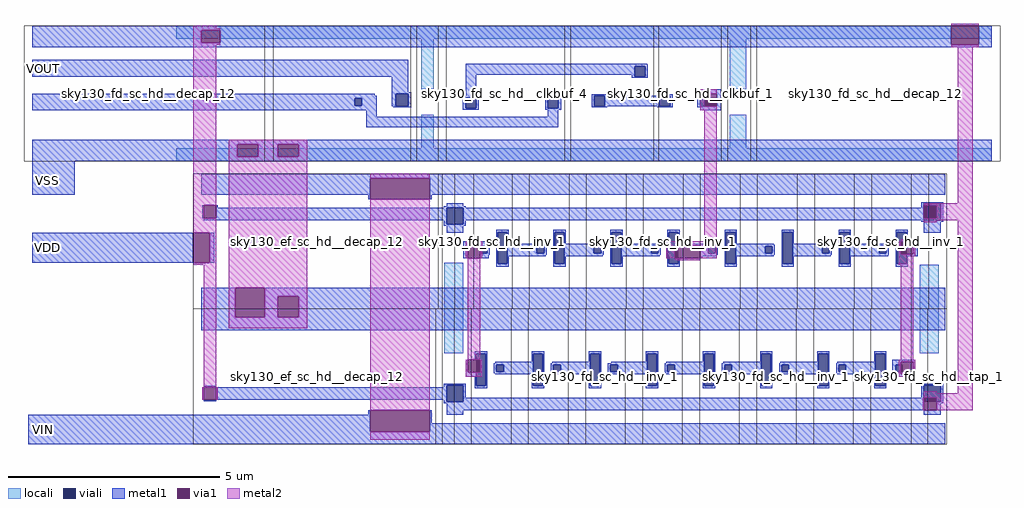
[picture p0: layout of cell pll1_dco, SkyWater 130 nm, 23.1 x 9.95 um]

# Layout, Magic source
magic
tech sky130A
magscale 1 2
<< locali >>
rect -1420 1180 2440 1240
rect -260 940 -200 1180
rect 1200 940 1280 1180
rect -260 660 -200 820
rect 1200 660 1280 820
rect -1420 600 2440 660
rect -150 -310 -60 120
rect 2100 -310 2190 110
<< viali >>
rect 750 1000 800 1050
rect -575 863 -541 897
rect -380 860 -320 920
rect -50 850 0 900
rect 340 850 390 900
rect 560 860 610 910
rect 870 860 920 910
rect 1060 860 1140 900
rect -140 300 -60 380
rect 2120 320 2200 400
rect 18 163 52 197
rect 102 113 148 263
rect 288 163 322 197
rect 372 113 418 263
rect 558 163 592 197
rect 642 113 688 263
rect 828 163 862 197
rect 912 113 958 263
rect 1098 163 1132 197
rect 1182 113 1228 263
rect 1368 163 1402 197
rect 1452 113 1498 263
rect 1638 163 1672 197
rect 1722 113 1768 263
rect 1908 163 1942 197
rect 1992 113 2038 263
rect -140 -540 -60 -460
rect 0 -463 46 -313
rect 96 -397 130 -363
rect 270 -463 316 -313
rect 366 -397 400 -363
rect 540 -463 586 -313
rect 636 -397 670 -363
rect 810 -463 856 -313
rect 906 -397 940 -363
rect 1080 -463 1126 -313
rect 1176 -397 1210 -363
rect 1350 -463 1396 -313
rect 1446 -397 1480 -363
rect 1620 -463 1666 -313
rect 1716 -397 1750 -363
rect 1890 -463 1936 -313
rect 1986 -397 2020 -363
rect 2120 -540 2200 -460
<< metal1 >>
rect -2100 1220 2250 1240
rect -2100 1160 -1300 1220
rect -1210 1160 2250 1220
rect -2100 1150 2250 1160
rect 2380 1150 2440 1240
rect -2100 1140 2440 1150
rect -2100 1000 -320 1080
rect -400 926 -320 1000
rect -50 1056 810 1060
rect -50 1050 812 1056
rect -50 1010 750 1050
rect -400 920 -308 926
rect -2100 910 -480 920
rect -2100 897 -470 910
rect -2100 863 -575 897
rect -541 863 -470 897
rect -2100 840 -470 863
rect -400 860 -380 920
rect -320 860 -308 920
rect -50 906 0 1010
rect 738 1000 750 1010
rect 800 1000 812 1050
rect 738 994 812 1000
rect 1060 920 1160 940
rect 548 910 622 916
rect 858 910 932 916
rect 340 906 390 910
rect -392 854 -308 860
rect -62 900 12 906
rect -62 850 -50 900
rect 0 850 12 900
rect -62 844 12 850
rect 328 900 402 906
rect 328 850 340 900
rect 390 850 402 900
rect 548 860 560 910
rect 610 860 870 910
rect 920 860 932 910
rect 1060 906 1080 920
rect 548 854 622 860
rect 858 854 932 860
rect 1048 900 1080 906
rect 1048 860 1060 900
rect 1140 860 1160 920
rect 1048 854 1160 860
rect 328 844 402 850
rect -520 810 -470 840
rect 340 810 390 844
rect 1060 840 1160 854
rect -520 760 390 810
rect -2100 680 2440 700
rect -2100 620 -1130 680
rect -1030 620 -940 680
rect -840 620 2440 680
rect -2100 600 2440 620
rect -2100 440 -1900 600
rect -1300 520 2220 540
rect -1300 440 -500 520
rect -510 420 -500 440
rect -220 440 2220 520
rect -220 420 -210 440
rect 2108 400 2212 406
rect -1296 330 -1290 390
rect -1230 380 -1224 390
rect -140 386 -60 400
rect -152 380 -48 386
rect 2108 380 2120 400
rect -1230 330 -140 380
rect -1290 320 -140 330
rect -152 300 -140 320
rect -60 320 2120 380
rect 2200 320 2212 400
rect -60 300 -48 320
rect 2108 314 2212 320
rect -152 294 -48 300
rect -140 260 -60 294
rect 96 263 154 275
rect -2100 120 -1340 260
rect -1260 120 -1240 260
rect -60 203 60 220
rect -60 200 64 203
rect -60 140 -40 200
rect 20 197 64 200
rect 52 163 64 197
rect 20 157 64 163
rect 20 140 60 157
rect 96 113 102 263
rect 148 210 154 263
rect 366 263 424 275
rect 148 203 330 210
rect 148 197 334 203
rect 148 163 288 197
rect 322 163 334 197
rect 148 157 334 163
rect 148 150 330 157
rect 148 113 154 150
rect 96 101 154 113
rect 366 113 372 263
rect 418 210 424 263
rect 636 263 694 275
rect 418 203 600 210
rect 418 197 604 203
rect 418 163 558 197
rect 592 163 604 197
rect 418 157 604 163
rect 418 150 600 157
rect 418 113 424 150
rect 366 101 424 113
rect 636 113 642 263
rect 688 210 694 263
rect 906 263 964 275
rect 688 203 870 210
rect 688 197 874 203
rect 688 163 828 197
rect 862 163 874 197
rect 688 157 874 163
rect 688 150 870 157
rect 688 113 694 150
rect 636 101 694 113
rect 906 113 912 263
rect 958 210 964 263
rect 1176 263 1234 275
rect 958 203 1140 210
rect 958 200 1144 203
rect 1060 197 1144 200
rect 1060 163 1098 197
rect 1132 163 1144 197
rect 1060 157 1144 163
rect 1060 150 1140 157
rect 1060 140 1070 150
rect 958 113 964 140
rect 906 101 964 113
rect 1176 113 1182 263
rect 1228 210 1234 263
rect 1446 263 1504 275
rect 1228 203 1410 210
rect 1228 197 1414 203
rect 1228 163 1368 197
rect 1402 163 1414 197
rect 1228 157 1414 163
rect 1228 150 1410 157
rect 1228 113 1234 150
rect 1176 101 1234 113
rect 1446 113 1452 263
rect 1498 210 1504 263
rect 1716 263 1774 275
rect 1498 203 1680 210
rect 1498 197 1684 203
rect 1498 163 1638 197
rect 1672 163 1684 197
rect 1498 157 1684 163
rect 1498 150 1680 157
rect 1498 113 1504 150
rect 1446 101 1504 113
rect 1716 113 1722 263
rect 1768 210 1774 263
rect 1986 263 2044 275
rect 1768 203 1950 210
rect 1768 197 1954 203
rect 1768 163 1908 197
rect 1942 163 1954 197
rect 1768 157 1954 163
rect 1768 150 1950 157
rect 1768 113 1774 150
rect 1716 101 1774 113
rect 1986 113 1992 263
rect 2038 230 2044 263
rect 2120 260 2200 314
rect 2038 220 2090 230
rect 2070 160 2090 220
rect 2038 150 2090 160
rect 2038 113 2044 150
rect 1986 101 2044 113
rect -1300 -140 -1140 0
rect -1000 -40 2220 0
rect -1000 -140 -940 -40
rect -840 -140 2220 -40
rect -1300 -200 2220 -140
rect -6 -313 52 -301
rect -6 -340 0 -313
rect -50 -400 -40 -340
rect -50 -420 0 -400
rect -152 -460 -48 -454
rect -1290 -470 -1230 -464
rect -152 -470 -140 -460
rect -1230 -530 -140 -470
rect -1290 -536 -1230 -530
rect -152 -540 -140 -530
rect -60 -520 -48 -460
rect -6 -463 0 -420
rect 46 -463 52 -313
rect 264 -313 322 -301
rect 264 -350 270 -313
rect 90 -357 270 -350
rect 84 -363 270 -357
rect 84 -397 96 -363
rect 130 -397 270 -363
rect 84 -403 270 -397
rect 90 -410 270 -403
rect -6 -475 52 -463
rect 264 -463 270 -410
rect 316 -463 322 -313
rect 534 -313 592 -301
rect 534 -350 540 -313
rect 360 -357 540 -350
rect 354 -363 540 -357
rect 354 -397 366 -363
rect 400 -397 540 -363
rect 354 -403 540 -397
rect 360 -410 540 -403
rect 264 -475 322 -463
rect 534 -463 540 -410
rect 586 -463 592 -313
rect 804 -313 862 -301
rect 804 -350 810 -313
rect 640 -357 810 -350
rect 624 -363 810 -357
rect 624 -397 636 -363
rect 670 -397 810 -363
rect 624 -403 810 -397
rect 640 -410 810 -403
rect 534 -475 592 -463
rect 804 -463 810 -410
rect 856 -463 862 -313
rect 1074 -313 1132 -301
rect 1074 -350 1080 -313
rect 900 -357 1080 -350
rect 894 -363 1080 -357
rect 894 -397 906 -363
rect 940 -397 1080 -363
rect 894 -403 1080 -397
rect 900 -410 1080 -403
rect 804 -475 862 -463
rect 1074 -463 1080 -410
rect 1126 -463 1132 -313
rect 1344 -313 1402 -301
rect 1344 -350 1350 -313
rect 1170 -357 1350 -350
rect 1164 -363 1350 -357
rect 1164 -397 1176 -363
rect 1210 -397 1350 -363
rect 1164 -403 1350 -397
rect 1170 -410 1350 -403
rect 1074 -475 1132 -463
rect 1344 -463 1350 -410
rect 1396 -463 1402 -313
rect 1614 -313 1672 -301
rect 1614 -350 1620 -313
rect 1440 -357 1620 -350
rect 1434 -363 1620 -357
rect 1434 -397 1446 -363
rect 1480 -397 1620 -363
rect 1434 -403 1620 -397
rect 1440 -410 1620 -403
rect 1344 -475 1402 -463
rect 1614 -463 1620 -410
rect 1666 -463 1672 -313
rect 1884 -313 1942 -301
rect 1884 -350 1890 -313
rect 1710 -357 1890 -350
rect 1704 -363 1890 -357
rect 1704 -397 1716 -363
rect 1750 -397 1890 -363
rect 1704 -403 1890 -397
rect 1710 -410 1890 -403
rect 1614 -475 1672 -463
rect 1884 -463 1890 -410
rect 1936 -463 1942 -313
rect 1970 -350 2080 -340
rect 1970 -363 2010 -350
rect 1970 -397 1986 -363
rect 1970 -410 2010 -397
rect 2070 -410 2080 -350
rect 1970 -420 2080 -410
rect 1884 -475 1942 -463
rect 2108 -460 2212 -454
rect 2108 -520 2120 -460
rect -60 -540 2120 -520
rect 2200 -540 2212 -460
rect -152 -546 2120 -540
rect -140 -580 2120 -546
rect 2180 -546 2212 -540
rect 2180 -580 2200 -546
rect -510 -600 -500 -580
rect -2120 -680 -500 -600
rect -220 -640 -210 -580
rect -140 -600 -60 -580
rect 2120 -600 2200 -580
rect -220 -680 2220 -640
rect -2120 -740 2220 -680
<< via1 >>
rect -1300 1160 -1210 1220
rect 2250 1150 2380 1240
rect 1080 900 1140 920
rect 1080 860 1140 900
rect -1130 620 -1030 680
rect -940 620 -840 680
rect -500 420 -220 520
rect -1290 330 -1230 390
rect 2120 330 2180 390
rect -1340 120 -1260 260
rect -40 197 20 200
rect -40 163 18 197
rect 18 163 20 197
rect -40 140 20 163
rect 940 140 958 200
rect 958 140 1060 200
rect 2010 160 2038 220
rect 2038 160 2070 220
rect -1140 -140 -1000 0
rect -940 -140 -840 -40
rect -40 -400 0 -340
rect 0 -400 20 -340
rect -1290 -530 -1230 -470
rect 2010 -363 2070 -350
rect 2010 -397 2020 -363
rect 2020 -397 2070 -363
rect 2010 -410 2070 -397
rect 2120 -540 2180 -520
rect 2120 -580 2180 -540
rect -500 -680 -220 -580
<< metal2 >>
rect 2250 1240 2380 1250
rect -1340 1230 -1230 1240
rect -1340 1220 -1210 1230
rect -1340 1160 -1300 1220
rect -1340 1150 -1210 1160
rect -1340 390 -1230 1150
rect 2250 1140 2380 1150
rect 1060 920 1140 940
rect 1060 860 1080 920
rect 1060 840 1140 860
rect -1340 330 -1290 390
rect -1340 260 -1230 330
rect -1260 120 -1230 260
rect -1340 110 -1230 120
rect -1290 -470 -1230 110
rect -1170 680 -800 700
rect -1170 620 -1130 680
rect -1030 620 -940 680
rect -840 620 -800 680
rect -1170 0 -800 620
rect -1170 -140 -1140 0
rect -1000 -40 -800 0
rect -1000 -140 -940 -40
rect -840 -140 -800 -40
rect -1170 -190 -800 -140
rect -500 520 -220 540
rect -1296 -530 -1290 -470
rect -1230 -530 -1224 -470
rect -500 -580 -220 420
rect 1080 220 1140 840
rect 2280 400 2350 1140
rect 2120 390 2350 400
rect 2180 330 2350 390
rect 2120 320 2350 330
rect 2120 310 2180 320
rect 2010 220 2070 230
rect -50 200 30 220
rect -50 140 -40 200
rect 20 140 30 200
rect 900 200 1140 220
rect 900 140 940 200
rect 1060 140 1140 200
rect 2000 160 2010 220
rect 2070 160 2080 220
rect 2000 150 2080 160
rect -40 -340 20 140
rect 940 130 1060 140
rect 2000 110 2070 150
rect 2010 -340 2070 110
rect -50 -400 -40 -340
rect 20 -400 30 -340
rect -50 -420 30 -400
rect 2000 -350 2080 -340
rect 2000 -410 2010 -350
rect 2070 -410 2080 -350
rect 2000 -420 2080 -410
rect 2120 -500 2180 -490
rect 2280 -500 2350 320
rect 2120 -520 2350 -500
rect 2114 -580 2120 -520
rect 2180 -580 2350 -520
rect -500 -720 -220 -680
use sky130_ef_sc_hd__decap_12  sky130_ef_sc_hd__decap_12_0 $PDKPATH/libs.ref/sky130_fd_sc_hd/mag
transform -1 0 -198 0 -1 -148
box -38 -48 1142 592
use sky130_ef_sc_hd__decap_12  sky130_ef_sc_hd__decap_12_1
transform 1 0 -1302 0 1 -52
box -38 -48 1142 592
use sky130_fd_sc_hd__clkbuf_1  sky130_fd_sc_hd__clkbuf_1_0 $PDKPATH/libs.ref/sky130_fd_sc_hd/mag
transform 1 0 878 0 1 648
box -38 -48 314 592
use sky130_fd_sc_hd__clkbuf_2  sky130_fd_sc_hd__clkbuf_2_0 $PDKPATH/libs.ref/sky130_fd_sc_hd/mag
transform 1 0 458 0 1 648
box -38 -48 406 592
use sky130_fd_sc_hd__clkbuf_4  sky130_fd_sc_hd__clkbuf_4_0 $PDKPATH/libs.ref/sky130_fd_sc_hd/mag
transform 1 0 -142 0 1 648
box -38 -48 590 592
use sky130_fd_sc_hd__clkinv_4  sky130_fd_sc_hd__clkinv_4_0 $PDKPATH/libs.ref/sky130_fd_sc_hd/mag
transform 1 0 -962 0 1 648
box -38 -48 682 592
use sky130_fd_sc_hd__decap_12  sky130_fd_sc_hd__decap_12_0 $PDKPATH/libs.ref/sky130_fd_sc_hd/mag
transform 1 0 1338 0 1 648
box -38 -48 1142 592
use sky130_fd_sc_hd__decap_12  sky130_fd_sc_hd__decap_12_1
transform 1 0 -2102 0 1 648
box -38 -48 1142 592
use sky130_fd_sc_hd__inv_1  sky130_fd_sc_hd__inv_1_0 $PDKPATH/libs.ref/sky130_fd_sc_hd/mag
transform 1 0 1828 0 1 -52
box -38 -48 314 592
use sky130_fd_sc_hd__inv_1  sky130_fd_sc_hd__inv_1_1
transform 1 0 -62 0 1 -52
box -38 -48 314 592
use sky130_fd_sc_hd__inv_1  sky130_fd_sc_hd__inv_1_2
transform 1 0 208 0 1 -52
box -38 -48 314 592
use sky130_fd_sc_hd__inv_1  sky130_fd_sc_hd__inv_1_3
transform 1 0 478 0 1 -52
box -38 -48 314 592
use sky130_fd_sc_hd__inv_1  sky130_fd_sc_hd__inv_1_4
transform 1 0 748 0 1 -52
box -38 -48 314 592
use sky130_fd_sc_hd__inv_1  sky130_fd_sc_hd__inv_1_5
transform 1 0 1018 0 1 -52
box -38 -48 314 592
use sky130_fd_sc_hd__inv_1  sky130_fd_sc_hd__inv_1_6
transform 1 0 1288 0 1 -52
box -38 -48 314 592
use sky130_fd_sc_hd__inv_1  sky130_fd_sc_hd__inv_1_7
transform 1 0 1558 0 1 -52
box -38 -48 314 592
use sky130_fd_sc_hd__inv_1  sky130_fd_sc_hd__inv_1_8
transform -1 0 1560 0 -1 -148
box -38 -48 314 592
use sky130_fd_sc_hd__inv_1  sky130_fd_sc_hd__inv_1_9
transform -1 0 2100 0 -1 -148
box -38 -48 314 592
use sky130_fd_sc_hd__inv_1  sky130_fd_sc_hd__inv_1_10
transform -1 0 1830 0 -1 -148
box -38 -48 314 592
use sky130_fd_sc_hd__inv_1  sky130_fd_sc_hd__inv_1_11
transform -1 0 750 0 -1 -148
box -38 -48 314 592
use sky130_fd_sc_hd__inv_1  sky130_fd_sc_hd__inv_1_12
transform -1 0 1290 0 -1 -148
box -38 -48 314 592
use sky130_fd_sc_hd__inv_1  sky130_fd_sc_hd__inv_1_13
transform -1 0 1020 0 -1 -148
box -38 -48 314 592
use sky130_fd_sc_hd__inv_1  sky130_fd_sc_hd__inv_1_14
transform -1 0 210 0 -1 -148
box -38 -48 314 592
use sky130_fd_sc_hd__inv_1  sky130_fd_sc_hd__inv_1_15
transform -1 0 480 0 -1 -148
box -38 -48 314 592
use sky130_fd_sc_hd__tap_1  sky130_fd_sc_hd__tap_1_0 $PDKPATH/libs.ref/sky130_fd_sc_hd/mag
transform -1 0 -60 0 -1 -148
box -38 -48 130 592
use sky130_fd_sc_hd__tap_1  sky130_fd_sc_hd__tap_1_1
transform 1 0 2098 0 1 -52
box -38 -48 130 592
use sky130_fd_sc_hd__tap_1  sky130_fd_sc_hd__tap_1_2
transform 1 0 -142 0 1 -52
box -38 -48 130 592
use sky130_fd_sc_hd__tap_1  sky130_fd_sc_hd__tap_1_3
transform -1 0 2190 0 -1 -148
box -38 -48 130 592
use sky130_fd_sc_hd__tap_1  sky130_fd_sc_hd__tap_1_4
transform 1 0 -272 0 1 648
box -38 -48 130 592
use sky130_fd_sc_hd__tap_1  sky130_fd_sc_hd__tap_1_5
transform 1 0 1198 0 1 648
box -38 -48 130 592
<< labels >>
flabel metal1 -2120 -740 -1980 -600 0 FreeSans 1600 0 0 0 VIN
port 0 nsew
flabel metal1 -2100 1000 -2000 1080 0 FreeSans 1600 0 0 0 VOUT
port 1 nsew
flabel metal1 -2100 840 -2000 920 0 FreeSans 1600 0 0 0 VOUT_N
port 2 nsew
flabel metal1 -2100 120 -1960 260 0 FreeSans 1600 0 0 0 VDD
port 3 nsew
flabel metal1 -2100 440 -1960 580 0 FreeSans 1600 0 0 0 VSS
port 4 nsew
<< end >>
